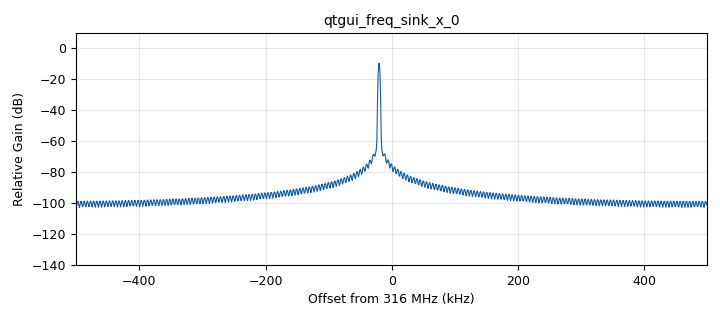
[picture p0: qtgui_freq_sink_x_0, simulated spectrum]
options:
  parameters:
    generate_options: qt_gui
    id: top_block
    output_language: python
  states: {}

blocks:
- name: samp_rate
  id: variable
  parameters:
    value: 1e6
  states: {}
- name: samples_per_symbol
  id: variable
  parameters:
    value: int(samp_rate*symbol_rate)
  states: {}
- name: symbol_rate
  id: variable
  parameters:
    value: '275e-6'
  states: {}
- name: target_freq
  id: variable
  parameters:
    value: '314980000'
  states: {}
- name: analog_sig_source_x_0
  id: analog_sig_source_x
  parameters:
    amp: '1'
    freq: target_freq
    offset: '0'
    phase: '0'
    samp_rate: samp_rate
    type: complex
    waveform: analog.GR_COS_WAVE
  states: {}
- name: blocks_file_sink_0
  id: blocks_file_sink
  parameters:
    file: /GH6/test-preview
    type: complex
  states: {state: disabled}
- name: blocks_multiply_xx_0
  id: blocks_multiply_xx
  parameters:
    type: complex
  states: {}
- name: blocks_patterned_interleaver_0
  id: blocks_patterned_interleaver
  parameters:
    pattern: '[0,0,0,0,0,0,0,0,0,0,0,0,0,0,0,0,0,0,0,0,0,0,0,0,0,0,0,0,1,1,1,1,1,1,1,1,2,2,2,2,2,2,2,2,2,2,2,2,2,2,2,2,2,2,2,2,2,2,2,2,2,2,2,2,2,2,2,2,2,2,2,2,2,2,2,2,2,2,2,2,2,2,2,2,2,2,2,2,2,2,2,2,2,2,2,2,2,2,2,2,2,2,2,2,2,2,2,2,2,2,2,2,2,2,2,2,2,2,2,2,2,2,2,2,2,2,2,2]'
    type: complex
  states: {}
- name: blocks_repeat_0
  id: blocks_repeat
  parameters:
    interp: samples_per_symbol
    type: complex
  states: {}
- name: blocks_throttle_0
  id: blocks_throttle
  parameters:
    samples_per_second: samp_rate
    type: complex
  states: {}
- name: blocks_vector_source_x_0
  id: blocks_vector_source_x
  parameters:
    repeat: 'True'
    type: complex
    vector: (1,1,1,0,1,1,1,0,1,0,0,0,1,1,1,0,1,1,1,0,1,1,1,0,1,1,1,0,1,1,1,0,1,1,1,0,1,1,1,0,1,1,1,0,1,0,0,0,1,1,1,0,1,1,1,0,1,1,1,0,1,1,1,0,1,0,0,0,1,0,0,0,1,0,0,0,1,1,1,0,1,0,0,0,1,0,0,0,1,0,0,0)
  states: {}
- name: gap
  id: analog_const_source_x
  parameters:
    const: '0'
    type: complex
  states: {}
- name: osmosdr_sink_0
  id: osmosdr_sink
  parameters:
    args: ''
    bb_gain0: '20'
    freq0: target_freq
    gain0: '10'
    if_gain0: '20'
    sample_rate: samp_rate
    sync: sync
    type: fc32
  states: {}
- name: pream
  id: blocks_vector_source_x
  parameters:
    repeat: 'True'
    type: complex
    vector: (1, 1, 1,0,1,0,0,0)
  states: {}
- name: qtgui_freq_sink_x_0
  id: qtgui_freq_sink_x
  parameters:
    bw: samp_rate
    fc: 316e6
    fftsize: '1024'
    showports: 'True'
    type: complex
    wintype: firdes.WIN_BLACKMAN_hARRIS
  states: {}

connections:
- [analog_sig_source_x_0, '0', blocks_multiply_xx_0, '1']
- [blocks_multiply_xx_0, '0', blocks_throttle_0, '0']
- [blocks_multiply_xx_0, '0', osmosdr_sink_0, '0']
- [blocks_patterned_interleaver_0, '0', blocks_repeat_0, '0']
- [blocks_repeat_0, '0', blocks_multiply_xx_0, '0']
- [blocks_throttle_0, '0', blocks_file_sink_0, '0']
- [blocks_throttle_0, '0', qtgui_freq_sink_x_0, '0']
- [blocks_vector_source_x_0, '0', blocks_patterned_interleaver_0, '2']
- [gap, '0', blocks_patterned_interleaver_0, '0']
- [pream, '0', blocks_patterned_interleaver_0, '1']

metadata:
  file_format: 1
